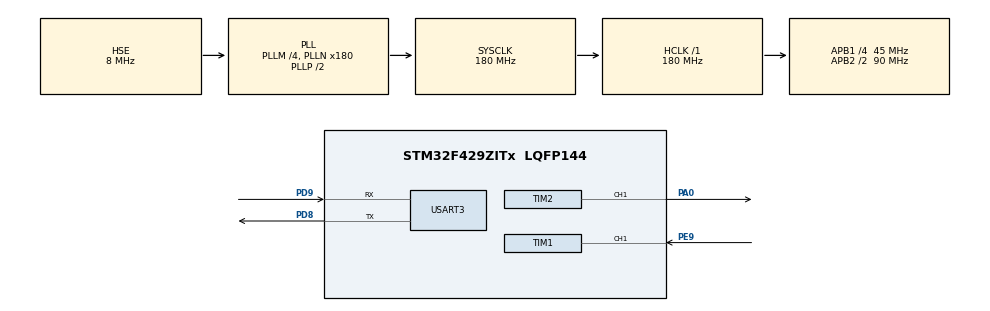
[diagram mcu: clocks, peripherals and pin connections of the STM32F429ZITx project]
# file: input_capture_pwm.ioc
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Mcu.Family=STM32F4
Mcu.Name=STM32F429ZITx
Mcu.Package=LQFP144
NVIC.PriorityGroup=NVIC_PRIORITYGROUP_4
NVIC.TIM1_CC_IRQn=true\:0\:0\:false\:false\:true\:true\:true\:true
PA0/WKUP.Signal=S_TIM2_CH1_ETR
PA13.Mode=Serial_Wire
PA13.Signal=SYS_JTMS-SWDIO
PA14.Mode=Serial_Wire
PA14.Signal=SYS_JTCK-SWCLK
PD8.Mode=Asynchronous
PD8.Signal=USART3_TX
PD9.Mode=Asynchronous
PD9.Signal=USART3_RX
PE9.Signal=S_TIM1_CH1
PH0/OSC_IN.Mode=HSE-External-Oscillator
PH0/OSC_IN.Signal=RCC_OSC_IN
PH1/OSC_OUT.Mode=HSE-External-Oscillator
PH1/OSC_OUT.Signal=RCC_OSC_OUT
ProjectManager.HeapSize=0x200
ProjectManager.StackSize=0x400
ProjectManager.TargetToolchain=STM32CubeIDE
RCC.48MHZClocksFreq_Value=90000000
RCC.AHBFreq_Value=180000000
RCC.APB1CLKDivider=RCC_HCLK_DIV4
RCC.APB1Freq_Value=45000000
RCC.APB1TimFreq_Value=90000000
RCC.APB2CLKDivider=RCC_HCLK_DIV2
RCC.APB2Freq_Value=90000000
RCC.APB2TimFreq_Value=180000000
RCC.CortexFreq_Value=180000000
RCC.HCLKFreq_Value=180000000
RCC.HSE_VALUE=8000000
RCC.HSI_VALUE=16000000
RCC.LSE_VALUE=32768
RCC.PLLM=4
RCC.PLLN=180
RCC.PLLSourceVirtual=RCC_PLLSOURCE_HSE
RCC.SYSCLKFreq_VALUE=180000000
RCC.SYSCLKSource=RCC_SYSCLKSOURCE_PLLCLK
RCC.VCOOutputFreq_Value=360000000
SH.S_TIM1_CH1.0=TIM1_CH1,TriggerSource_TI1FP1
SH.S_TIM1_CH1.1=TIM1_CH1,Input_Capture1_from_TI1
SH.S_TIM2_CH1_ETR.0=TIM2_CH1,PWM Generation1 CH1
TIM1.AutoReloadPreload=TIM_AUTORELOAD_PRELOAD_ENABLE
TIM1.Channel-Input_Capture1_from_TI1=TIM_CHANNEL_1
TIM1.Channel-Input_Capture2_from_TI1_63=TIM_CHANNEL_2
TIM1.ICPolarity_CH1=TIM_INPUTCHANNELPOLARITY_FALLING
TIM1.ICPolarity_CH2=TIM_INPUTCHANNELPOLARITY_RISING
TIM1.Period=29999
TIM1.Prescaler=1800-1
TIM2.Channel-PWM\ Generation1\ CH1=TIM_CHANNEL_1
TIM2.Period=10000-1
TIM2.Prescaler=1800-1
TIM2.Pulse-PWM\ Generation1\ CH1=5000
USART3.VirtualMode=VM_ASYNC
VP_TIM1_VS_ClockSourceINT.Mode=Internal
VP_TIM1_VS_ControllerModeReset.Mode=Reset Mode
VP_TIM1_VS_indirect_ch1.Mode=Input_Capture2_from_TI1_63
VP_TIM2_VS_ClockSourceINT.Mode=Internal
board=custom

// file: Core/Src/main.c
/* USER CODE BEGIN Header */
/**
  ******************************************************************************
  * @file           : main.c
  * @brief          : Main program body
  ******************************************************************************
  * @attention
  *
  * Copyright (c) 2022 STMicroelectronics.
  * All rights reserved.
  *
  * This software is licensed under terms that can be found in the LICENSE file
  * in the root directory of this software component.
  * If no LICENSE file comes with this software, it is provided AS-IS.
  *
  ******************************************************************************
  */
/* USER CODE END Header */
#include "main.h"
#include "tim.h"
#include "usart.h"
#include "gpio.h"

/* USER CODE BEGIN PV */

 	 uint16_t Cap_val1 = 0 , Cap_val2 = 0;
	  float Duty = 0.0 , Frequency = 0.0;
	  volatile char  msg[30],msg2[30];

	  int x = 0;
	  float value = 0.0;
	  float freq_final = 0.0;

/* USER CODE END PV */

void SystemClock_Config(void);

int main(void)
{

  /* MCU Configuration--------------------------------------------------------*/

  /* Reset of all peripherals, Initializes the Flash interface and the Systick. */
  HAL_Init();

  /* Configure the system clock */
  SystemClock_Config();

  /* Initialize all configured peripherals */
  MX_GPIO_Init();
  MX_TIM1_Init();
  MX_TIM2_Init();
  MX_USART3_UART_Init();
  /* USER CODE BEGIN 2 */
  HAL_TIM_PWM_Start(&htim2, TIM_CHANNEL_1);
  HAL_TIM_IC_Start_IT(&htim1, TIM_CHANNEL_1);
  HAL_TIM_IC_Start_IT(&htim1, TIM_CHANNEL_2);
//  printf("TIM CAPTURE TEST !");

  /* USER CODE END 2 */

  /* Infinite loop */
  /* USER CODE BEGIN WHILE */
  while (1)
  {
//	  HAL_Delay(400);
//	    sprintf(msg,"Duty cycle is :%0.2f        ",Duty);
//	  	HAL_UART_Transmit(&huart3, (uint8_t*)msg, strlen(msg), HAL_MAX_DELAY);

	  	sprintf(msg2," Volt to Freq is :%0.2f\n\r",Frequency);
	  	HAL_UART_Transmit(&huart3, (uint8_t*)msg2, strlen(msg2), HAL_MAX_DELAY);

//
//	  printf("Cap_val1 is :%d , Cap_val1 is : %d \r \n",Cap_val1 ,Cap_val2);
//	  printf("Duty is :%0.2f%% Frequency is : %0.2f \r \n",Duty ,Frequency);
    /* USER CODE END WHILE */

  }
}

void SystemClock_Config(void)
{
  RCC_OscInitTypeDef RCC_OscInitStruct = {0};
  RCC_ClkInitTypeDef RCC_ClkInitStruct = {0};

  /** Configure the main internal regulator output voltage
  */
  __HAL_RCC_PWR_CLK_ENABLE();
  __HAL_PWR_VOLTAGESCALING_CONFIG(PWR_REGULATOR_VOLTAGE_SCALE1);

  /** Initializes the RCC Oscillators according to the specified parameters
  * in the RCC_OscInitTypeDef structure.
  */
  RCC_OscInitStruct.OscillatorType = RCC_OSCILLATORTYPE_HSE;
  RCC_OscInitStruct.HSEState = RCC_HSE_ON;
  RCC_OscInitStruct.PLL.PLLState = RCC_PLL_ON;
  RCC_OscInitStruct.PLL.PLLSource = RCC_PLLSOURCE_HSE;
  RCC_OscInitStruct.PLL.PLLM = 4;
  RCC_OscInitStruct.PLL.PLLN = 180;
  RCC_OscInitStruct.PLL.PLLP = RCC_PLLP_DIV2;
  RCC_OscInitStruct.PLL.PLLQ = 4;
  if (HAL_RCC_OscConfig(&RCC_OscInitStruct) != HAL_OK)
  {
    Error_Handler();
  }

  /** Activate the Over-Drive mode
  */
  if (HAL_PWREx_EnableOverDrive() != HAL_OK)
  {
    Error_Handler();
  }

  /** Initializes the CPU, AHB and APB buses clocks
  */
  RCC_ClkInitStruct.ClockType = RCC_CLOCKTYPE_HCLK|RCC_CLOCKTYPE_SYSCLK
                              |RCC_CLOCKTYPE_PCLK1|RCC_CLOCKTYPE_PCLK2;
  RCC_ClkInitStruct.SYSCLKSource = RCC_SYSCLKSOURCE_PLLCLK;
  RCC_ClkInitStruct.AHBCLKDivider = RCC_SYSCLK_DIV1;
  RCC_ClkInitStruct.APB1CLKDivider = RCC_HCLK_DIV4;
  RCC_ClkInitStruct.APB2CLKDivider = RCC_HCLK_DIV2;

  if (HAL_RCC_ClockConfig(&RCC_ClkInitStruct, FLASH_LATENCY_5) != HAL_OK)
  {
    Error_Handler();
  }
}

/* USER CODE BEGIN 4 */

void HAL_TIM_IC_CaptureCallback(TIM_HandleTypeDef *htim)
{

	if(htim ->Channel == HAL_TIM_ACTIVE_CHANNEL_1)
	{
		Cap_val1 = HAL_TIM_ReadCapturedValue(&htim1, TIM_CHANNEL_1);		//PE9
		Cap_val2 = HAL_TIM_ReadCapturedValue(&htim1, TIM_CHANNEL_2);		//PE11

		if(Cap_val1 != 0)
		{
			x++;
			Duty = (float)(Cap_val2 + 1)*100 / (Cap_val1 +1);
			Frequency = (180000000 / 180 / (float)(Cap_val1 +1))/10;
		}
    }
}

/* USER CODE END 4 */

void Error_Handler(void)
{
  __disable_irq();
  while (1)
  {
  }
}
